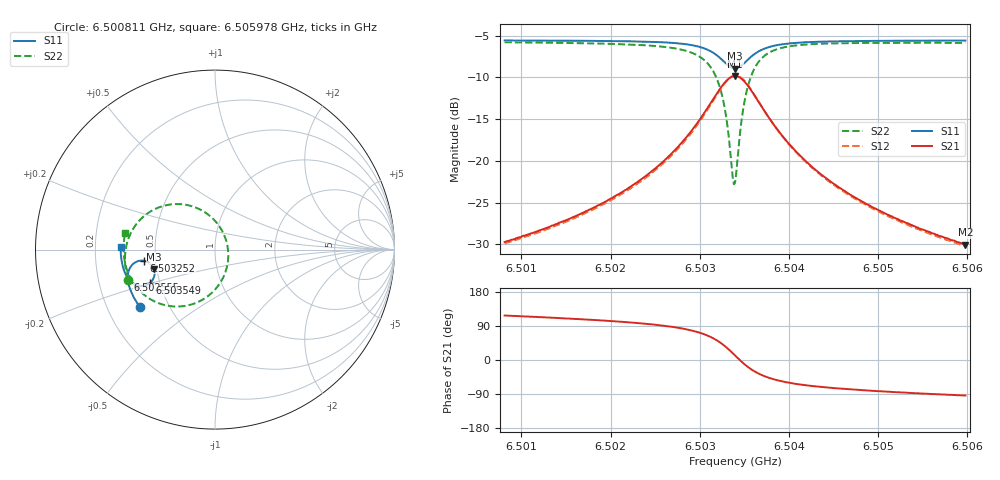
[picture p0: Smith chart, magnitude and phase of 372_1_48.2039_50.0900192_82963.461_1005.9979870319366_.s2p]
#  HZ  S  RI  R  50.00
! Rohde & Schwarz Vector Network Analyzer
! Rohde-Schwarz,ZNB20-2Port,1311601062101988,3.16
! Created: UTC 3/20/2024, 11:52:44 AM
! freq[Hz]  re:S11  im:S11  re:S21  im:S21  re:S12  im:S12  re:S22  im:S22
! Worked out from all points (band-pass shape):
!   401 points, 6.500811 GHz to 6.505978 GHz, reference 50 ohm
!   highest |S21| = -9.83 dB at 6.503394 GHz (marker M1); lowest = -30.1 dB at 6.505978 GHz (marker M2)
!   |S21| within 3 dB of the highest: 6.503136 GHz to 6.503653 GHz (516.9 kHz wide, 0.00795 % of centre)
!   lowest |S11| = -8.9 dB at 6.503394 GHz (marker M3), VSWR 2.11, Z = 24.2 - j6.08 ohm
!   |S11| at or under -10 dB: nowhere
!   |S22| runs from -22.8 to -5.8 dB; largest |S21 - S12| = 0.011
!   S11 on the Smith chart (normalised r, x): 6.500811 GHz: 0.34, -0.30; 6.502555 GHz: 0.33, -0.15; 6.503252 GHz: 0.43, -0.06; 6.503549 GHz: 0.44, -0.20; 6.505978 GHz: 0.31, +0.01
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6.5008106e9  -0.4198 -0.3177  -0.015 0.029  -0.0134 0.0291  -0.4857 -0.1667
6.5016761e9  -0.458 -0.2549  -0.0146 0.0463  -0.0122 0.0459  -0.5011 -0.077
6.5021541e9  -0.4753 -0.2133  -0.0118 0.0653  -0.00888 0.0643  -0.4993 -0.0111
6.5025417e9  -0.4851 -0.1716  -0.00325 0.094  0.00036 0.0918  -0.4815 0.0638
6.5025546e9  -0.4853 -0.1699  -0.0028 0.0952  0.000802 0.0931  -0.4802 0.0671
6.5028e9  -0.4848 -0.1349  0.0152 0.1282  0.019 0.1244  -0.4425 0.1362
6.5029809e9  -0.4737 -0.1016  0.0493 0.164  0.0525 0.1587  -0.3753 0.2021
6.5031488e9  -0.4395 -0.0687  0.1258 0.1972  0.1271 0.1908  -0.235 0.2528
6.5032522e9  -0.3973 -0.0615  0.2099 0.1887  0.2103 0.1835  -0.0886 0.2262
6.5033038e9  -0.3722 -0.0698  0.2579 0.1614  0.2586 0.1567  -0.00925 0.1701
6.5033684e9  -0.3459 -0.0956  0.305 0.0991  0.3074 0.0941  0.0622 0.0502
6.5033943e9  -0.3395 -0.1099  0.3152 0.0675  0.3184 0.0617  0.0732 -0.00852
6.5034072e9  -0.3377 -0.1175  0.318 0.0511  0.321 0.0449  0.074 -0.0387
6.5034847e9  -0.3433 -0.1616  0.3017 -0.042  0.3035 -0.0518  0.018 -0.2014
6.5035493e9  -0.3641 -0.1871  0.2599 -0.0954  0.2588 -0.1063  -0.0762 -0.2828
6.5036526e9  -0.4029 -0.202  0.1869 -0.1313  0.1817 -0.1405  -0.2233 -0.3171
6.5038206e9  -0.4484 -0.1923  0.1068 -0.1287  0.0999 -0.1336  -0.3676 -0.2717
6.5040014e9  -0.4754 -0.1709  0.063 -0.1093  0.057 -0.1114  -0.4384 -0.2083
6.5042598e9  -0.4961 -0.1409  0.0335 -0.0855  0.0288 -0.0861  -0.4813 -0.1369
6.5046732e9  -0.5122 -0.0986  0.0139 -0.0619  0.0107 -0.0614  -0.5043 -0.0586
6.5051253e9  -0.5211 -0.0573  0.00505 -0.0469  0.00275 -0.0461  -0.5096 0.00322
6.505978e9  -0.5258 0.0144  -0.0021 -0.0314  -0.00347 -0.0306  -0.5015 0.0917
